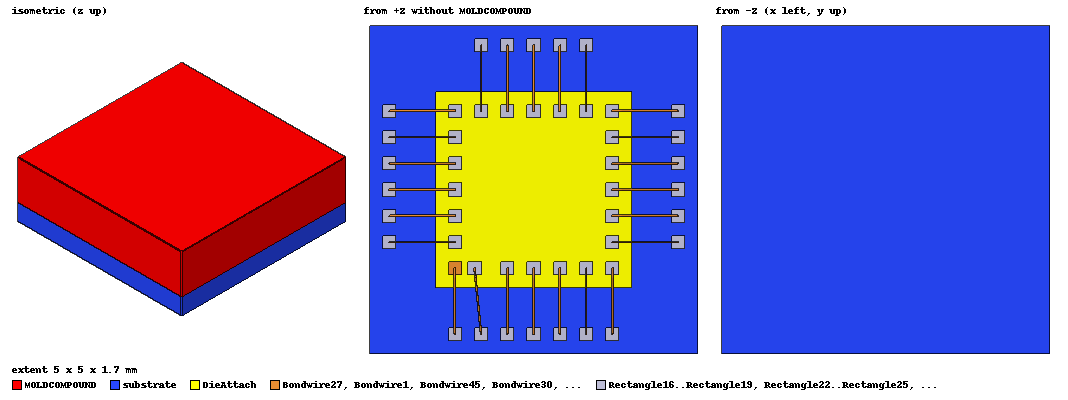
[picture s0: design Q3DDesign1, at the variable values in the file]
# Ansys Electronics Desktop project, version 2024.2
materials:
  vacuum: permittivity=1
  copper: permeability=0.999991 conductivity=58000000
  silicon: permittivity=11.9
  FR4_epoxy: permittivity=4.4 dielectric_loss_tangent=0.02
  modified_epoxy: permittivity=4.2 dielectric_loss_tangent=0.02
  epoxy_Kevlar_xy: permittivity=3.6

design Q3DDesign1 (Q3D Extractor, model units mm)
options: SParamCalcMethod=EqTransLine Calculate_Lossy_Dielectrics
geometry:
  substrate [FR4_epoxy] = rectangle(corner=(-1mm, -1mm, -0.1mm), x_size=5mm, y_size=5mm)
  substrate.thicken(-0.5mm)
  DieAttach [modified_epoxy] = rectangle(corner=(0mm, 0mm, 0mm), x_size=3mm, y_size=3mm)
  DieAttach.thicken(-0.1mm)
  diebondpad [copper] = rectangle(corner=(0.2mm, 0.2mm, 0.2mm), x_size=0.2mm, y_size=0.2mm)
  diebondpad.thicken(0.005mm)
  substratebondpad [copper] = rectangle(corner=(0.2mm, -0.8mm, -0.1mm), x_size=0.2mm, y_size=0.2mm)
  Bondwire1 [copper] = bondwire(WireType=JEDEC_4Points WireDiameter=0.025mm NumSides=6 XPadPos=0.3mm YPadPos=0.3mm ZPadPos=0.205mm XDir=0mm YDir=-1mm ZDir=0mm Distance=1mm h1=0.2mm h2=0.305mm alpha=80deg beta=5deg WhichAxis=Z)
  substratewire2 [copper] = rectangle(corner=(0.2mm, -0.8mm, -0.1mm), x_size=0.2mm, y_size=0.2mm)
  Rectangle1 [copper] = rectangle(corner=(0.2mm, -0.8mm, -0.1mm), x_size=0.2mm, y_size=0.2mm)
  Rectangle2 [copper] = rectangle(corner=(0.6mm, -0.8mm, -0.1mm), x_size=0.2mm, y_size=0.2mm)
  Rectangle3 [copper] = rectangle(corner=(0.2mm, -0.8mm, -0.1mm), x_size=0.2mm, y_size=0.2mm)
  Rectangle4 [copper] = rectangle(corner=(1mm, -0.8mm, 0mm), x_size=0.2mm, y_size=0.2mm)
  Rectangle5 [copper] = rectangle(corner=(0.5mm, 0.2mm, 0.2mm), x_size=0.2mm, y_size=0.2mm)
  Rectangle7 [copper] = rectangle(corner=(0.5mm, 0.2mm, 0.2mm), x_size=0.2mm, y_size=0.2mm)
  Rectangle8 [copper] = rectangle(corner=(2.2mm, 0.2mm, 0.2mm), x_size=0.2mm, y_size=0.2mm)
  Rectangle9 [copper] = rectangle(corner=(2.6mm, 0.2mm, 0.2mm), x_size=0.2mm, y_size=0.2mm)
  Rectangle10 [copper] = rectangle(corner=(1.4mm, -0.8mm, 0mm), x_size=0.2mm, y_size=0.2mm)
  Rectangle11 [copper] = rectangle(corner=(1.8mm, -0.8mm, 0mm), x_size=0.2mm, y_size=0.2mm)
  Rectangle12 [copper] = rectangle(corner=(2.2mm, -0.8mm, 0mm), x_size=0.2mm, y_size=0.2mm)
  Rectangle13 [copper] = rectangle(corner=(2.6mm, -0.8mm, 0mm), x_size=0.2mm, y_size=0.2mm)
  Rectangle14 [copper] = rectangle(corner=(2.6mm, 0.6mm, 0.2mm), x_size=0.2mm, y_size=0.2mm)
  Rectangle15 [copper] = rectangle(corner=(3.6mm, 0.6mm, 0mm), x_size=0.2mm, y_size=0.2mm)
  Rectangle16 [copper] = rectangle(corner=(2.6mm, 1mm, 0.2mm), x_size=0.2mm, y_size=0.2mm)
  Rectangle17 [copper] = rectangle(corner=(3.6mm, 1mm, 0mm), x_size=0.2mm, y_size=0.2mm)
  Rectangle18 [copper] = rectangle(corner=(2.6mm, 1.4mm, 0.2mm), x_size=0.2mm, y_size=0.2mm)
  Rectangle19 [copper] = rectangle(corner=(3.6mm, 1.4mm, 0mm), x_size=0.2mm, y_size=0.2mm)
  Rectangle20 [copper] = rectangle(corner=(2.6mm, 1.8mm, 0.2mm), x_size=0.2mm, y_size=0.2mm)
  Rectangle21 [copper] = rectangle(corner=(3.6mm, 1.8mm, 0mm), x_size=0.2mm, y_size=0.2mm)
  Rectangle22 [copper] = rectangle(corner=(2.6mm, 2.2mm, 0.2mm), x_size=0.2mm, y_size=0.2mm)
  Rectangle23 [copper] = rectangle(corner=(3.6mm, 2.2mm, 0mm), x_size=0.2mm, y_size=0.2mm)
  Rectangle24 [copper] = rectangle(corner=(2.6mm, 2.6mm, 0.2mm), x_size=0.2mm, y_size=0.2mm)
  Rectangle25 [copper] = rectangle(corner=(3.6mm, 2.6mm, 0mm), x_size=0.2mm, y_size=0.2mm)
  Rectangle26 [copper] = rectangle(corner=(0.2mm, 0.6mm, 0.2mm), x_size=0.2mm, y_size=0.2mm)
  Rectangle27 [copper] = rectangle(corner=(-0.8mm, 0.6mm, 0mm), x_size=0.2mm, y_size=0.2mm)
  Rectangle28 [copper] = rectangle(corner=(0.2mm, 1mm, 0.2mm), x_size=0.2mm, y_size=0.2mm)
  Rectangle29 [copper] = rectangle(corner=(-0.8mm, 1mm, 0mm), x_size=0.2mm, y_size=0.2mm)
  Rectangle30 [copper] = rectangle(corner=(-0.8mm, 1.4mm, 0mm), x_size=0.2mm, y_size=0.2mm)
  Rectangle31 [copper] = rectangle(corner=(0.2mm, 1.4mm, 0.2mm), x_size=0.2mm, y_size=0.2mm)
  Rectangle32 [copper] = rectangle(corner=(0.2mm, 1.8mm, 0.2mm), x_size=0.2mm, y_size=0.2mm)
  Rectangle33 [copper] = rectangle(corner=(-0.8mm, 1.8mm, 0mm), x_size=0.2mm, y_size=0.2mm)
  Rectangle34 [copper] = rectangle(corner=(0.2mm, 2.2mm, 0.2mm), x_size=0.2mm, y_size=0.2mm)
  Rectangle35 [copper] = rectangle(corner=(-0.8mm, 2.2mm, 0mm), x_size=0.2mm, y_size=0.2mm)
  Rectangle36 [copper] = rectangle(corner=(0.2mm, 2.6mm, 0.2mm), x_size=0.2mm, y_size=0.2mm)
  Rectangle37 [copper] = rectangle(corner=(-0.8mm, 2.6mm, 0mm), x_size=0.2mm, y_size=0.2mm)
  Rectangle38 [copper] = rectangle(corner=(0.6mm, 2.6mm, 0.2mm), x_size=0.2mm, y_size=0.2mm)
  Rectangle40 [copper] = rectangle(corner=(1mm, 2.6mm, 0.2mm), x_size=0.2mm, y_size=0.2mm)
  Rectangle41 [copper] = rectangle(corner=(0.6mm, 3.6mm, 0mm), x_size=0.2mm, y_size=0.2mm)
  Rectangle42 [copper] = rectangle(corner=(1mm, 3.6mm, 0mm), x_size=0.2mm, y_size=0.2mm)
  Rectangle43 [copper] = rectangle(corner=(1.4mm, 2.6mm, 0.2mm), x_size=0.2mm, y_size=0.2mm)
  Rectangle44 [copper] = rectangle(corner=(1.4mm, 3.6mm, 0mm), x_size=0.2mm, y_size=0.2mm)
  Rectangle45 [copper] = rectangle(corner=(1.8mm, 2.6mm, 0.2mm), x_size=0.2mm, y_size=0.2mm)
  Rectangle46 [copper] = rectangle(corner=(1.8mm, 3.6mm, 0mm), x_size=0.2mm, y_size=0.2mm)
  Rectangle47 [copper] = rectangle(corner=(2.2mm, 2.6mm, 0.2mm), x_size=0.2mm, y_size=0.2mm)
  Rectangle48 [copper] = rectangle(corner=(2.2mm, 3.6mm, 0mm), x_size=0.2mm, y_size=0.2mm)
  Bondwire27 [copper] = bondwire(WireType=JEDEC_4Points WireDiameter=0.025mm NumSides=6 XPadPos=0.6mm YPadPos=0.3mm ZPadPos=0.2mm XDir=0.1mm YDir=-1mm ZDir=0mm Distance=1.0049876mm h1=0.2mm h2=0.3mm alpha=80deg beta=5deg WhichAxis=Z)
  Rectangle50 [copper] = rectangle(corner=(0.5mm, 0.2mm, 0.2mm), x_size=0.2mm, y_size=0.2mm)
  Rectangle51 [copper] = rectangle(corner=(0.5mm, 0.2mm, 0.2mm), x_size=0.2mm, y_size=0.2mm)
  Rectangle52 [copper] = rectangle(corner=(0.5mm, 0.2mm, 0.2mm), x_size=0.2mm, y_size=0.2mm)
  Bondwire28 [copper] = bondwire(WireType=JEDEC_4Points WireDiameter=0.025mm NumSides=6 XPadPos=0.3mm YPadPos=1.5mm ZPadPos=0.2mm XDir=-1mm YDir=0mm ZDir=0mm Distance=1mm h1=0.2mm h2=0.2mm alpha=80deg beta=5deg WhichAxis=Z)
  Bondwire29 [copper] = bondwire(WireType=JEDEC_4Points WireDiameter=0.025mm NumSides=6 XPadPos=0.3mm YPadPos=1.1mm ZPadPos=0.2mm XDir=-1mm YDir=0mm ZDir=0mm Distance=1mm h1=0.2mm h2=0.2mm alpha=80deg beta=5deg WhichAxis=Z)
  Bondwire30 [copper] = bondwire(WireType=JEDEC_4Points WireDiameter=0.025mm NumSides=6 XPadPos=0.3mm YPadPos=0.7mm ZPadPos=0.2mm XDir=-1mm YDir=1.110223e-16mm ZDir=0mm Distance=1mm h1=0.2mm h2=0.2mm alpha=80deg beta=5deg WhichAxis=Z)
  Rectangle54 [copper] = rectangle(corner=(1mm, 0.4mm, 0.2mm), x_size=0.2mm, y_size=-0.2mm)
  Rectangle55 [copper] = rectangle(corner=(1.4mm, 0.4mm, 0.2mm), x_size=0.2mm, y_size=-0.2mm)
  Rectangle56 [copper] = rectangle(corner=(1.8mm, 0.4mm, 0.2mm), x_size=0.2mm, y_size=-0.2mm)
  Bondwire31 [copper] = bondwire(WireType=JEDEC_4Points WireDiameter=0.025mm NumSides=6 XPadPos=0.3mm YPadPos=1.9mm ZPadPos=0.2mm XDir=-1mm YDir=0mm ZDir=0mm Distance=1mm h1=0.2mm h2=0.2mm alpha=80deg beta=5deg WhichAxis=Z)
  Bondwire32 [copper] = bondwire(WireType=JEDEC_4Points WireDiameter=0.025mm NumSides=6 XPadPos=0.3mm YPadPos=2.3mm ZPadPos=0.2mm XDir=-1mm YDir=0mm ZDir=0mm Distance=1mm h1=0.2mm h2=0.2mm alpha=80deg beta=5deg WhichAxis=Z)
  Bondwire34 [copper] = bondwire(WireType=JEDEC_4Points WireDiameter=0.025mm NumSides=6 XPadPos=1.5mm YPadPos=0.3mm ZPadPos=0.2mm XDir=0mm YDir=-1mm ZDir=0mm Distance=1mm h1=0.2mm h2=0.2mm alpha=80deg beta=5deg WhichAxis=Z)
  Bondwire40 [copper] = bondwire(WireType=JEDEC_4Points WireDiameter=0.025mm NumSides=6 XPadPos=1.1mm YPadPos=2.7mm ZPadPos=0.2mm XDir=0mm YDir=1mm ZDir=0mm Distance=1mm h1=0.2mm h2=0.2mm alpha=80deg beta=5deg WhichAxis=Z)
  Bondwire42 [copper] = bondwire(WireType=JEDEC_4Points WireDiameter=0.025mm NumSides=6 XPadPos=1.9mm YPadPos=2.7mm ZPadPos=0.2mm XDir=0mm YDir=1mm ZDir=0mm Distance=1mm h1=0.2mm h2=0.2mm alpha=80deg beta=5deg WhichAxis=Z)
  Bondwire43 [copper] = bondwire(WireType=JEDEC_4Points WireDiameter=0.025mm NumSides=6 XPadPos=2.3mm YPadPos=2.7mm ZPadPos=0.2mm XDir=0mm YDir=1mm ZDir=0mm Distance=1mm h1=0.2mm h2=0.2mm alpha=80deg beta=5deg WhichAxis=Z)
  Bondwire44 [copper] = bondwire(WireType=JEDEC_4Points WireDiameter=0.025mm NumSides=6 XPadPos=2.7mm YPadPos=1.9mm ZPadPos=0.2mm XDir=1mm YDir=0mm ZDir=0mm Distance=1mm h1=0.2mm h2=0.2mm alpha=80deg beta=5deg WhichAxis=Z)
  Bondwire45 [copper] = bondwire(WireType=JEDEC_4Points WireDiameter=0.025mm NumSides=6 XPadPos=2.7mm YPadPos=2.3mm ZPadPos=0.2mm XDir=1mm YDir=4.4408921e-16mm ZDir=0mm Distance=1mm h1=0.2mm h2=0.2mm alpha=80deg beta=5deg WhichAxis=Z)
  Bondwire46 [copper] = bondwire(WireType=JEDEC_4Points WireDiameter=0.025mm NumSides=6 XPadPos=2.7mm YPadPos=2.7mm ZPadPos=0.2mm XDir=1mm YDir=0mm ZDir=0mm Distance=1mm h1=0.2mm h2=0.2mm alpha=80deg beta=5deg WhichAxis=Z)
  Bondwire47 [copper] = bondwire(WireType=JEDEC_4Points WireDiameter=0.025mm NumSides=6 XPadPos=1.9mm YPadPos=0.3mm ZPadPos=0.2mm XDir=0mm YDir=-1mm ZDir=0mm Distance=1mm h1=0.2mm h2=0.2mm alpha=80deg beta=5deg WhichAxis=Z)
  Bondwire48 [copper] = bondwire(WireType=JEDEC_4Points WireDiameter=0.025mm NumSides=6 XPadPos=2.3mm YPadPos=0.3mm ZPadPos=0.2mm XDir=0mm YDir=-1mm ZDir=0mm Distance=1mm h1=0.2mm h2=0.2mm alpha=80deg beta=5deg WhichAxis=Z)
  Bondwire49 [copper] = bondwire(WireType=JEDEC_4Points WireDiameter=0.025mm NumSides=6 XPadPos=2.7mm YPadPos=0.3mm ZPadPos=0.2mm XDir=0mm YDir=-1mm ZDir=0mm Distance=1mm h1=0.2mm h2=0.2mm alpha=80deg beta=5deg WhichAxis=Z)
  Bondwire51 [copper] = bondwire(WireType=JEDEC_4Points WireDiameter=0.025mm NumSides=6 XPadPos=2.7mm YPadPos=1.1mm ZPadPos=0.2mm XDir=1mm YDir=0mm ZDir=0mm Distance=1mm h1=0.2mm h2=0.2mm alpha=80deg beta=5deg WhichAxis=Z)
  Bondwire52 [copper] = bondwire(WireType=JEDEC_4Points WireDiameter=0.025mm NumSides=6 XPadPos=0.3mm YPadPos=2.7mm ZPadPos=0.2mm XDir=-1mm YDir=0mm ZDir=0mm Distance=1mm h1=0.2mm h2=0.2mm alpha=80deg beta=5deg WhichAxis=Z)
  Bondwire53 [copper] = bondwire(WireType=JEDEC_4Points WireDiameter=0.025mm NumSides=6 XPadPos=0.7mm YPadPos=2.7mm ZPadPos=0.2mm XDir=0mm YDir=1mm ZDir=0mm Distance=1mm h1=0.2mm h2=0.2mm alpha=80deg beta=5deg WhichAxis=Z)
  Bondwire55 [copper] = bondwire(WireType=JEDEC_4Points WireDiameter=0.025mm NumSides=6 XPadPos=1.1mm YPadPos=0.3mm ZPadPos=0.2mm XDir=0mm YDir=-1mm ZDir=0mm Distance=1mm h1=0.2mm h2=0.2mm alpha=80deg beta=5deg WhichAxis=Z)
  Bondwire56 [copper] = bondwire(WireType=JEDEC_4Points WireDiameter=0.025mm NumSides=6 XPadPos=2.7mm YPadPos=0.7mm ZPadPos=0.2mm XDir=1mm YDir=0mm ZDir=0mm Distance=1mm h1=0.2mm h2=0.2mm alpha=80deg beta=5deg WhichAxis=Z)
  Bondwire57 [copper] = bondwire(WireType=JEDEC_4Points WireDiameter=0.025mm NumSides=6 XPadPos=1.5mm YPadPos=2.7mm ZPadPos=0.2mm XDir=2.220446e-16mm YDir=1mm ZDir=0mm Distance=1mm h1=0.2mm h2=0.2mm alpha=80deg beta=5deg WhichAxis=Z)
  Bondwire58 [copper] = bondwire(WireType=JEDEC_4Points WireDiameter=0.025mm NumSides=6 XPadPos=2.7mm YPadPos=1.5mm ZPadPos=0.2mm XDir=1mm YDir=0mm ZDir=0mm Distance=1mm h1=0.2mm h2=0.2mm alpha=80deg beta=5deg WhichAxis=Z)
  MOLDCOMPOUND [epoxy_Kevlar_xy] = rectangle(corner=(-1mm, -1mm, -0.1mm), x_size=5mm, y_size=5mm)
  MOLDCOMPOUND.thicken(1.2mm)
